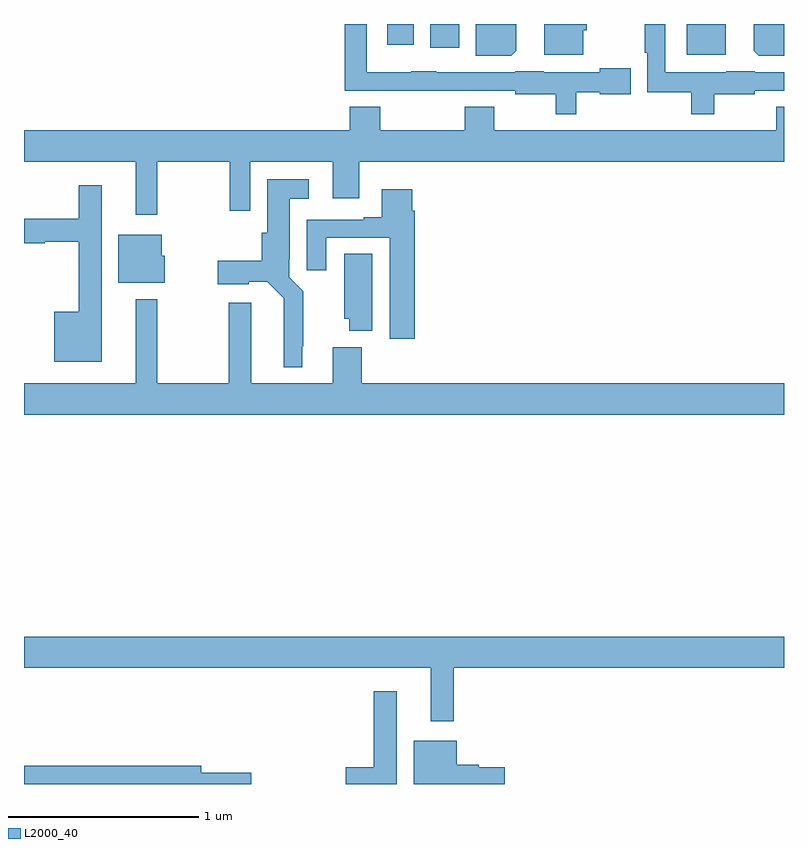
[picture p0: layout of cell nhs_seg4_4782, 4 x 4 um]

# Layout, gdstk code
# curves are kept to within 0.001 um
import gdstk
lib = gdstk.Library(unit=1e-6, precision=1e-09)
def R(c, l, rs):  # rectangles x0, y0, x1, y1
    for r in rs: c.add(gdstk.rectangle(r[:2], r[2:], *l))
def P(c, l, *ps):  # polygons
    for p in ps: c.add(gdstk.Polygon(p, *l))
L2000_40 = (2000, 40)

nhs_seg4_4782 = lib.new_cell('nhs_seg4_4782')
R(nhs_seg4_4782, L2000_40, [(372.488,774.737,372.694,774.9), (371.138,774.774,371.29,774.9), (370.913,774.792,371.05,774.9)])
P(nhs_seg4_4782, L2000_40, [(371.944,774.867),(371.962,774.867),(371.962,774.9),(371.738,774.9),(371.738,774.737),(371.944,774.737)],
  [(371.59,774.76),(371.59,774.9),(371.378,774.9),(371.378,774.734),(371.564,774.734)],
  [(373,774.9),(372.842,774.9),(372.842,774.76),(372.868,774.734),(373,774.734)],
  [(372.634,774.53),(372.846,774.53),(372.846,774.549),(373,774.549),(373,774.645),(372.846,774.645),(372.846,774.652),(372.696,774.652),(372.696,774.646),(372.375,774.646),(372.375,774.9),(372.267,774.9),(372.267,774.748),(372.279,774.748),(372.279,774.542),(372.513,774.542),(372.513,774.425),(372.634,774.425)],
  [(371.907,774.542),(372.03,774.542),(372.03,774.53),(372.193,774.53),(372.193,774.667),(372.03,774.667),(372.03,774.646),(371.736,774.646),(371.736,774.652),(371.586,774.652),(371.586,774.645),(371.169,774.645),(371.169,774.652),(371.037,774.652),(371.037,774.646),(370.803,774.646),(370.803,774.9),(370.687,774.9),(370.687,774.549),(370.937,774.549),(370.937,774.548),(371.169,774.548),(371.169,774.549),(371.586,774.549),(371.586,774.53),(371.799,774.53),(371.799,774.425),(371.907,774.425)],
  [(369.701,774.176),(370.083,774.176),(370.083,773.916),(370.191,773.916),(370.191,774.176),(370.625,774.176),(370.625,773.982),(370.765,773.982),(370.765,774.176),(373,774.176),(373,774.464),(372.958,774.464),(372.958,774.34),(371.475,774.34),(371.475,774.464),(371.32,774.464),(371.32,774.34),(370.875,774.34),(370.875,774.464),(370.715,774.464),(370.715,774.34),(369,774.34),(369,774.176),(369.587,774.176),(369.587,773.895),(369.701,773.895)],
  [(370.465,773.203),(370.469,773.203),(370.469,773.494),(370.395,773.568),(370.395,773.662),(370.399,773.662),(370.399,773.981),(370.498,773.981),(370.498,774.082),(370.28,774.082),(370.28,773.802),(370.25,773.802),(370.25,773.653),(370.02,773.653),(370.02,773.531),(370.182,773.531),(370.182,773.543),(370.281,773.543),(370.368,773.456),(370.367,773.093),(370.465,773.093)],
  [(369.409,774.052),(369.288,774.052),(369.288,773.875),(369,773.875),(369,773.746),(369.109,773.746),(369.109,773.754),(369.288,773.754),(369.288,773.386),(369.158,773.386),(369.158,773.123),(369.409,773.123)],
  [(371.057,773.918),(371.044,773.918),(371.044,774.031),(370.883,774.031),(370.883,773.884),(370.787,773.884),(370.787,773.871),(370.487,773.871),(370.487,773.604),(370.591,773.604),(370.591,773.775),(370.925,773.775),(370.925,773.244),(371.057,773.244)],
  [(369.742,773.679),(369.724,773.679),(369.724,773.791),(369.497,773.791),(369.497,773.537),(369.742,773.537)],
  [(370.834,773.69),(370.685,773.69),(370.685,773.349),(370.712,773.349),(370.712,773.285),(370.834,773.285)],
  [(373,773.008),(370.778,773.008),(370.778,773.2),(370.625,773.2),(370.625,773.008),(370.195,773.008),(370.195,773.434),(370.078,773.434),(370.078,773.008),(369.701,773.008),(369.701,773.452),(369.587,773.452),(369.587,773.008),(369,773.008),(369,772.844),(373,772.844)],
  [(371.263,771.512),(373,771.512),(373,771.676),(369,771.676),(369,771.512),(371.141,771.512),(371.141,771.231),(371.263,771.231)],
  [(370.963,771.388),(370.842,771.388),(370.842,770.989),(370.694,770.989),(370.694,770.9),(370.963,770.9)],
  [(371.531,770.989),(371.394,770.989),(371.394,771.002),(371.278,771.002),(371.278,771.127),(371.051,771.127),(371.051,770.9),(371.531,770.9)],
  [(370.195,770.96),(369.934,770.96),(369.934,770.996),(369,770.996),(369,770.9),(370.195,770.9)])

lib.write_gds('nhs_seg4_4782.gds')
